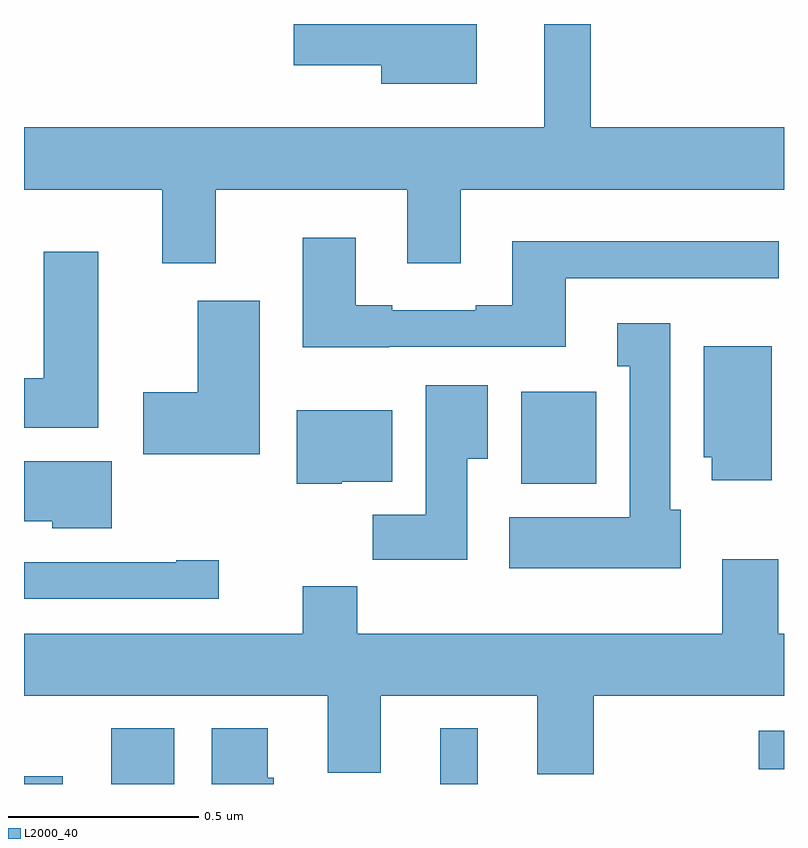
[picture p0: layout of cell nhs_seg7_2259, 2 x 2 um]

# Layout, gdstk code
import gdstk
lib = gdstk.Library(unit=1e-6, precision=1e-09)
def R(c, l, rs):  # rectangles x0, y0, x1, y1
    for r in rs: c.add(gdstk.rectangle(r[:2], r[2:], *l))
def P(c, l, *ps):  # polygons
    for p in ps: c.add(gdstk.Polygon(p, *l))
L2000_40 = (2000, 40)

nhs_seg7_2259 = lib.new_cell('nhs_seg7_2259')
R(nhs_seg7_2259, L2000_40, [(142,1051,142.102,1051.021), (142.229,1051,142.396,1051.147), (143.096,1051,143.194,1051.147), (143.934,1051.039,144,1051.14), (143.309,1051.79,143.506,1052.032)])
P(nhs_seg7_2259, L2000_40, [(143.191,1053),(142.71,1053),(142.71,1052.891),(142.94,1052.891),(142.94,1052.843),(143.191,1052.843)],
  [(142.504,1052.564),(143.009,1052.564),(143.009,1052.37),(143.149,1052.37),(143.149,1052.564),(144,1052.564),(144,1052.728),(143.491,1052.728),(143.491,1053),(143.369,1053),(143.369,1052.728),(142,1052.728),(142,1052.564),(142.364,1052.564),(142.364,1052.37),(142.504,1052.37)],
  [(142.961,1052.151),(143.425,1052.151),(143.425,1052.331),(143.986,1052.331),(143.986,1052.428),(143.285,1052.428),(143.285,1052.26),(143.189,1052.26),(143.189,1052.247),(142.969,1052.247),(142.969,1052.26),(142.873,1052.26),(142.873,1052.437),(142.733,1052.437),(142.733,1052.15),(142.961,1052.15)],
  [(142.195,1052.401),(142.052,1052.401),(142.052,1052.068),(142,1052.068),(142,1051.937),(142.195,1051.937)],
  [(142.621,1052.272),(142.457,1052.272),(142.457,1052.031),(142.314,1052.031),(142.314,1051.868),(142.621,1051.868)],
  [(143.728,1051.722),(143.701,1051.722),(143.701,1052.212),(143.561,1052.212),(143.561,1052.099),(143.594,1052.099),(143.594,1051.702),(143.277,1051.702),(143.277,1051.568),(143.728,1051.568)],
  [(143.968,1052.152),(143.789,1052.152),(143.789,1051.86),(143.81,1051.86),(143.81,1051.8),(143.968,1051.8)],
  [(143.167,1051.856),(143.221,1051.856),(143.221,1052.05),(143.057,1052.05),(143.057,1051.708),(142.918,1051.708),(142.918,1051.59),(143.167,1051.59)],
  [(142.836,1051.796),(142.969,1051.796),(142.969,1051.984),(142.718,1051.984),(142.718,1051.79),(142.836,1051.79)],
  [(142.231,1051.849),(142,1051.849),(142,1051.691),(142.074,1051.691),(142.074,1051.673),(142.231,1051.673)],
  [(143.499,1051.232),(144,1051.232),(144,1051.396),(143.985,1051.396),(143.985,1051.591),(143.837,1051.591),(143.837,1051.396),(142.877,1051.396),(142.877,1051.52),(142.733,1051.52),(142.733,1051.396),(142,1051.396),(142,1051.232),(142.799,1051.232),(142.799,1051.03),(142.939,1051.03),(142.939,1051.232),(143.351,1051.232),(143.351,1051.026),(143.499,1051.026)],
  [(142.513,1051.589),(142.4,1051.589),(142.4,1051.584),(142,1051.584),(142,1051.488),(142.513,1051.488)],
  [(142.657,1051.017),(142.642,1051.017),(142.642,1051.147),(142.494,1051.147),(142.494,1051),(142.657,1051)])

lib.write_gds('nhs_seg7_2259.gds')
